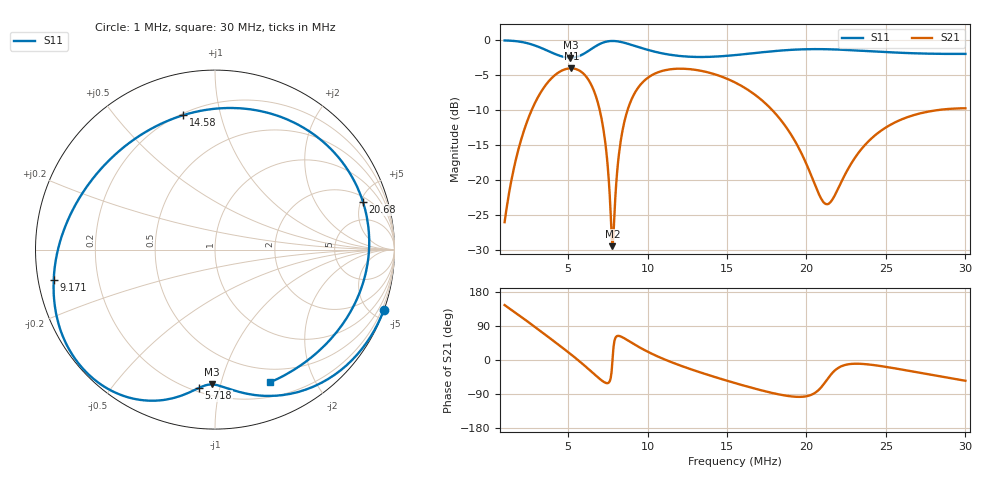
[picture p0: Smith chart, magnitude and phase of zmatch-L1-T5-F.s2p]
# HZ S RI R 50
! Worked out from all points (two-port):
!   505 points, 1 MHz to 30 MHz, reference 50 ohm
!   highest |S21| = -3.99 dB at 5.2 MHz (marker M1); lowest = -29.4 dB at 7.79 MHz (marker M2)
!   |S21| within 3 dB of the highest: 3.397 MHz to 6.584 MHz (3.186 MHz wide, 63.9 % of centre); 9.334 MHz to 16.26 MHz (6.929 MHz wide, 54.1 % of centre)
!   lowest |S11| = -2.5 dB at 5.143 MHz (marker M3), VSWR 7.04, Z = 13.6 - j46.9 ohm
!   |S11| at or under -10 dB: nowhere
!   S12 and S22 are empty: the file has one direction only
!   S11 on the Smith chart (normalised r, x): 1 MHz: 0.02, -5.73; 5.718 MHz: 0.22, -0.87; 9.171 MHz: 0.04, -0.09; 14.58 MHz: 0.21, +0.77; 20.68 MHz: 2.46, +5.23; 30 MHz: 0.35, -1.44
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1000000  0.9399 -0.3383  -0.0411 0.0288  0 0  0 0
2726200  0.5241 -0.7732  -0.0161 0.3214  0 0  0 0
3934540  0.1749 -0.8024  0.307 0.4365  0 0  0 0
5142880  -0.0185 -0.7512  0.6069 0.1737  0 0  0 0
5200420  -0.025 -0.7514  0.6125 0.1534  0 0  0 0
5718280  -0.0889 -0.7703  0.606 -0.0382  0 0  0 0
5833360  -0.1067 -0.7789  0.5899 -0.0794  0 0  0 0
7099240  -0.4839 -0.8232  0.1641 -0.2226  0 0  0 0
7444480  -0.6193 -0.7622  0.0691 -0.1257  0 0  0 0
7789720  -0.7351 -0.664  0.0338 -0.000456  0 0  0 0
8365120  -0.8577 -0.4573  0.1014 0.1834  0 0  0 0
9170680  -0.8987 -0.1704  0.3134 0.2746  0 0  0 0
1.066672e7  -0.7837 0.2383  0.5854 0.0899  0 0  0 0
1.227784e7  -0.5663 0.52  0.5968 -0.1927  0 0  0 0
1.457944e7  -0.1782 0.7486  0.3613 -0.4212  0 0  0 0
1.550008e7  -0.00107 0.7848  0.2437 -0.4372  0 0  0 0
1.831954e7  0.5458 0.645  -0.00601 -0.2753  0 0  0 0
2.033344e7  0.8009 0.3291  -0.00227 -0.1057  0 0  0 0
2.067868e7  0.8242 0.2662  0.0114 -0.0838  0 0  0 0
2.148424e7  0.8553 0.1185  0.0522 -0.0456  0 0  0 0
2.51668e7  0.7095 -0.4176  0.2313 -0.0808  0 0  0 0
3.000016e7  0.3061 -0.7394  0.1886 -0.2673  0 0  0 0
